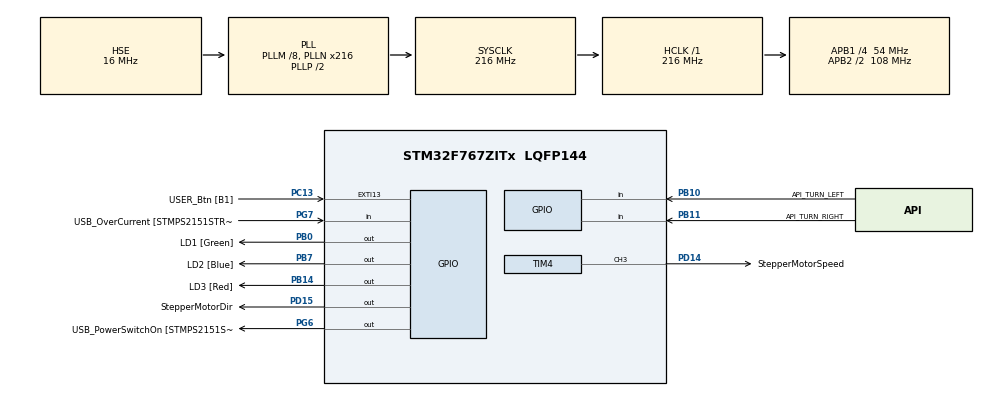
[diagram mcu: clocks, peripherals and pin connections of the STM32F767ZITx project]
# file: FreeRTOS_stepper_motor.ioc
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Mcu.Family=STM32F7
Mcu.Name=STM32F767ZITx
Mcu.Package=LQFP144
NVIC.PriorityGroup=NVIC_PRIORITYGROUP_4
PA1.GPIO_Label=RMII_REF_CLK [LAN8742A-CZ-TR_REFCLK0]
PA1.Signal=ETH_REF_CLK
PA10.GPIO_Label=USB_ID
PA10.Signal=USB_OTG_FS_ID
PA11.GPIO_Label=USB_DM
PA11.Signal=USB_OTG_FS_DM
PA12.GPIO_Label=USB_DP
PA12.Signal=USB_OTG_FS_DP
PA13.GPIO_Label=TMS
PA13.Signal=SYS_JTMS-SWDIO
PA14.GPIO_Label=TCK
PA14.Signal=SYS_JTCK-SWCLK
PA2.GPIO_Label=RMII_MDIO [LAN8742A-CZ-TR_MDIO]
PA2.Signal=ETH_MDIO
PA7.GPIO_Label=RMII_CRS_DV [LAN8742A-CZ-TR_CRS_DV]
PA7.Signal=ETH_CRS_DV
PA8.GPIO_Label=USB_SOF [TP1]
PA8.Signal=USB_OTG_FS_SOF
PA9.GPIO_Label=USB_VBUS
PA9.Signal=USB_OTG_FS_VBUS
PB0.GPIO_Label=LD1 [Green]
PB0.Signal=GPIO_Output
PB10.GPIO_Label=API_TURN_LEFT
PB10.Signal=GPIO_Input
PB11.GPIO_Label=API_TURN_RIGHT
PB11.Signal=GPIO_Input
PB13.GPIO_Label=RMII_TXD1 [LAN8742A-CZ-TR_TXD1]
PB13.Signal=ETH_TXD1
PB14.GPIO_Label=LD3 [Red]
PB14.Signal=GPIO_Output
PB3.GPIO_Label=SW0
PB3.Signal=SYS_JTDO-SWO
PB7.GPIO_Label=LD2 [Blue]
PB7.Signal=GPIO_Output
PC1.GPIO_Label=RMII_MDC [LAN8742A-CZ-TR_MDC]
PC1.Signal=ETH_MDC
PC13.GPIO_Label=USER_Btn [B1]
PC13.Signal=GPXTI13
PC14/OSC32_IN.Signal=RCC_OSC32_IN
PC15/OSC32_OUT.Signal=RCC_OSC32_OUT
PC4.GPIO_Label=RMII_RXD0 [LAN8742A-CZ-TR_RXD0]
PC4.Signal=ETH_RXD0
PC5.GPIO_Label=RMII_RXD1 [LAN8742A-CZ-TR_RXD1]
PC5.Signal=ETH_RXD1
PD14.GPIO_Label=StepperMotorSpeed
PD14.Signal=S_TIM4_CH3
PD15.GPIO_Label=StepperMotorDir
PD15.Signal=GPIO_Output
PD8.GPIO_Label=STLK_RX [STM32F103CBT6_PA3]
PD8.Signal=USART3_TX
PD9.GPIO_Label=STLK_TX [STM32F103CBT6_PA2]
PD9.Signal=USART3_RX
PG11.GPIO_Label=RMII_TX_EN [LAN8742A-CZ-TR_TXEN]
PG11.Signal=ETH_TX_EN
PG13.GPIO_Label=RMII_TXD0 [LAN8742A-CZ-TR_TXD0]
PG13.Signal=ETH_TXD0
PG6.GPIO_Label=USB_PowerSwitchOn [STMPS2151STR_EN]
PG6.Signal=GPIO_Output
PG7.GPIO_Label=USB_OverCurrent [STMPS2151STR_FAULT]
PG7.Signal=GPIO_Input
PH0/OSC_IN.GPIO_Label=MCO [STM32F103CBT6_PA8]
PH0/OSC_IN.Mode=HSE-External-Oscillator
PH0/OSC_IN.Signal=RCC_OSC_IN
PH1/OSC_OUT.Mode=HSE-External-Oscillator
PH1/OSC_OUT.Signal=RCC_OSC_OUT
ProjectManager.HeapSize=0x200
ProjectManager.StackSize=0x400
ProjectManager.TargetToolchain=STM32CubeIDE
RCC.48MHZClocksFreq_Value=24000000
RCC.AHBFreq_Value=216000000
RCC.APB1CLKDivider=RCC_HCLK_DIV4
RCC.APB1Freq_Value=54000000
RCC.APB1TimFreq_Value=108000000
RCC.APB2CLKDivider=RCC_HCLK_DIV2
RCC.APB2Freq_Value=108000000
RCC.APB2TimFreq_Value=216000000
RCC.CortexFreq_Value=216000000
RCC.HCLKFreq_Value=216000000
RCC.HSE_VALUE=16000000
RCC.HSI_VALUE=16000000
RCC.LSE_VALUE=32768
RCC.PLLM=8
RCC.PLLMUL=RCC_PLL_MUL9
RCC.PLLN=216
RCC.PLLSourceVirtual=RCC_PLLSOURCE_HSE
RCC.PRESCALERUSB=RCC_USBCLKSOURCE_PLL_DIV1_5
RCC.SYSCLKFreq_VALUE=216000000
RCC.SYSCLKSource=RCC_SYSCLKSOURCE_PLLCLK
RCC.SYSCLKSourceVirtual=RCC_SYSCLKSOURCE_PLLCLK
RCC.USBFreq_Value=216000000
RCC.VCOOutputFreq_Value=432000000
SH.S_TIM4_CH3.0=TIM4_CH3,PWM Generation3 CH3
TIM4.Channel-PWM\ Generation3\ CH3=TIM_CHANNEL_3
TIM4.Period=1000-1
TIM4.Prescaler=64-1
board=NUCLEO-F767ZI

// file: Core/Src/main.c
/* USER CODE BEGIN Header */
/**
  ******************************************************************************
  * @file           : main.c
  * @brief          : Main program body
  ******************************************************************************
  * @attention
  *
  * Copyright (c) 2024 STMicroelectronics.
  * All rights reserved.
  *
  * This software is licensed under terms that can be found in the LICENSE file
  * in the root directory of this software component.
  * If no LICENSE file comes with this software, it is provided AS-IS.
  *
  ******************************************************************************
  */
/* USER CODE END Header */
#include "main.h"
#include "tim.h"
#include "gpio.h"

void SystemClock_Config(void);

/* USER CODE BEGIN 0 */
int speedState = 0;

/* USER CODE END 0 */

int main(void)
{

  /* MCU Configuration--------------------------------------------------------*/

  /* Reset of all peripherals, Initializes the Flash interface and the Systick. */
  HAL_Init();

  /* Configure the system clock */
  SystemClock_Config();

  /* Initialize all configured peripherals */
  MX_GPIO_Init();
  MX_TIM4_Init();
  /* USER CODE BEGIN 2 */
  HAL_TIM_PWM_Start(&htim4, TIM_CHANNEL_3);

  /* USER CODE END 2 */

  /* Infinite loop */
  while (1)
  {

    /* USER CODE BEGIN 3 */
//	  TIM4->CCR3 = 75;	// move stepper motor with given speed (range 50 - 100)

	  if(HAL_GPIO_ReadPin(API_TURN_LEFT_GPIO_Port, API_TURN_LEFT_Pin) == GPIO_PIN_SET) {
		  if (speedState > -3) {
			  speedState --;

			  HAL_GPIO_WritePin(StepperMotorDir_GPIO_Port, StepperMotorDir_Pin, SET);
			  TIM4->CCR3 = 100;
			  HAL_Delay(70);
			  TIM4->CCR3 = 0;
		  }
	  }

	  if(HAL_GPIO_ReadPin(API_TURN_RIGHT_GPIO_Port, API_TURN_RIGHT_Pin) == GPIO_PIN_SET) {
		  if (speedState < 3) {
			  speedState ++;

			  HAL_GPIO_WritePin(StepperMotorDir_GPIO_Port, StepperMotorDir_Pin, RESET);
			  TIM4->CCR3 = 100;
			  HAL_Delay(70);
			  TIM4->CCR3 = 0;
		  }
	  }
  }
  /* USER CODE END 3 */
}

void SystemClock_Config(void)
{
  RCC_OscInitTypeDef RCC_OscInitStruct = {0};
  RCC_ClkInitTypeDef RCC_ClkInitStruct = {0};

  /** Configure the main internal regulator output voltage
  */
  __HAL_RCC_PWR_CLK_ENABLE();
  __HAL_PWR_VOLTAGESCALING_CONFIG(PWR_REGULATOR_VOLTAGE_SCALE1);

  /** Initializes the RCC Oscillators according to the specified parameters
  * in the RCC_OscInitTypeDef structure.
  */
  RCC_OscInitStruct.OscillatorType = RCC_OSCILLATORTYPE_HSE;
  RCC_OscInitStruct.HSEState = RCC_HSE_ON;
  RCC_OscInitStruct.PLL.PLLState = RCC_PLL_ON;
  RCC_OscInitStruct.PLL.PLLSource = RCC_PLLSOURCE_HSE;
  RCC_OscInitStruct.PLL.PLLM = 8;
  RCC_OscInitStruct.PLL.PLLN = 216;
  RCC_OscInitStruct.PLL.PLLP = RCC_PLLP_DIV2;
  RCC_OscInitStruct.PLL.PLLQ = 2;
  RCC_OscInitStruct.PLL.PLLR = 2;
  if (HAL_RCC_OscConfig(&RCC_OscInitStruct) != HAL_OK)
  {
    Error_Handler();
  }

  /** Activate the Over-Drive mode
  */
  if (HAL_PWREx_EnableOverDrive() != HAL_OK)
  {
    Error_Handler();
  }

  /** Initializes the CPU, AHB and APB buses clocks
  */
  RCC_ClkInitStruct.ClockType = RCC_CLOCKTYPE_HCLK|RCC_CLOCKTYPE_SYSCLK
                              |RCC_CLOCKTYPE_PCLK1|RCC_CLOCKTYPE_PCLK2;
  RCC_ClkInitStruct.SYSCLKSource = RCC_SYSCLKSOURCE_PLLCLK;
  RCC_ClkInitStruct.AHBCLKDivider = RCC_SYSCLK_DIV1;
  RCC_ClkInitStruct.APB1CLKDivider = RCC_HCLK_DIV4;
  RCC_ClkInitStruct.APB2CLKDivider = RCC_HCLK_DIV2;

  if (HAL_RCC_ClockConfig(&RCC_ClkInitStruct, FLASH_LATENCY_7) != HAL_OK)
  {
    Error_Handler();
  }
}

void Error_Handler(void)
{
  __disable_irq();
  while (1)
  {
  }
}
